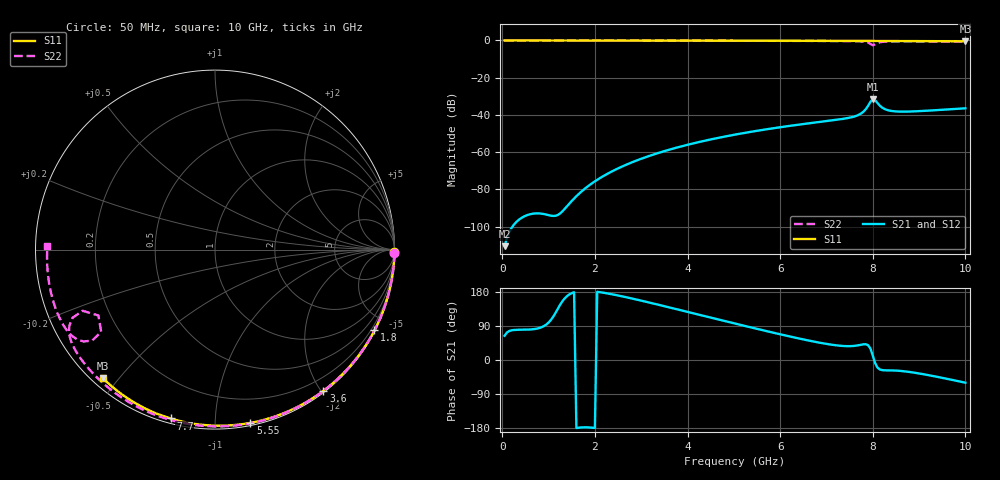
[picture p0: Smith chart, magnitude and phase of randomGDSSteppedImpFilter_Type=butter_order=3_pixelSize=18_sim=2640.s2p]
! freq	dB(S11)	phase(S11)	dB(S12)	phase(S12)
!  dB(S21)	phase(S21)	dB(S22)	phase(S22)
!S-par simulation data
#  GHz  S  DB  R 50
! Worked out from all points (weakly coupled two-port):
!   200 points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, 50 MHz to 10 GHz, reference 50 ohm
!   highest |S21| = -31.56 dB at 8 GHz (marker M1); lowest = -110.4 dB at 50 MHz (marker M2)
!   lowest |S11| = -0.4 dB at 10 GHz (marker M3), VSWR 39.42, Z = 1.53 - j22.7 ohm
!   |S11| at or under -10 dB: nowhere
!   |S22| runs from -2.5 to 0.0 dB; largest |S21 - S12| = 0
!   S11 on the Smith chart (normalised r, x): 50 MHz: open; 1.8 GHz: 0.04, -4.19; 3.6 GHz: 0.02, -2.03; 5.55 GHz: 0.02, -1.22; 7.7 GHz: 0.02, -0.77; 10 GHz: 0.03, -0.45
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0.05  -0.00 -0.8  -110.45 64.0  -110.45 64.0  -0.00 -1.1
0.85  -0.02 -12.8  -93.00 86.6  -93.00 86.6  -0.02 -18.2
1.75  -0.03 -26.1  -80.25 -177.6  -80.25 -177.6  -0.05 -37.0
1.8  -0.03 -26.9  -79.24 -177.6  -79.24 -177.6  -0.05 -38.0
2.1  -0.04 -31.2  -74.03 179.1  -74.03 179.1  -0.06 -44.2
2.5  -0.05 -37.0  -68.68 170.3  -68.68 170.3  -0.07 -52.2
3.4  -0.07 -49.7  -60.16 145.0  -60.16 145.0  -0.09 -69.8
3.6  -0.07 -52.5  -58.68 139.0  -58.68 139.0  -0.10 -73.6
5.05  -0.11 -72.0  -50.44 95.4  -50.44 95.4  -0.15 -99.9
5.55  -0.13 -78.5  -48.30 80.7  -48.30 80.7  -0.18 -108.7
6.7  -0.18 -92.8  -44.24 49.2  -44.24 49.2  -0.25 -128.3
7.4  -0.22 -101.2  -41.93 36.7  -41.93 36.7  -0.32 -140.8
7.7  -0.24 -104.8  -39.88 39.0  -39.88 39.0  -0.44 -147.4
7.8  -0.25 -105.9  -38.20 41.4  -38.20 41.4  -0.59 -150.5
7.9  -0.26 -107.1  -35.05 39.0  -35.05 39.0  -1.11 -154.4
8  -0.26 -108.2  -31.56 11.8  -31.56 11.8  -2.54 -150.5
8.05  -0.26 -108.8  -32.04 -8.0  -32.04 -8.0  -2.13 -144.1
8.1  -0.26 -109.4  -33.54 -19.7  -33.54 -19.7  -1.40 -143.5
8.2  -0.27 -110.6  -36.00 -26.6  -36.00 -26.6  -0.77 -146.8
8.35  -0.28 -112.3  -37.60 -27.3  -37.60 -27.3  -0.55 -151.0
8.8  -0.32 -117.5  -38.16 -31.7  -38.16 -31.7  -0.48 -160.2
10  -0.44 -131.1  -36.42 -59.9  -36.42 -59.9  -0.60 178.6
